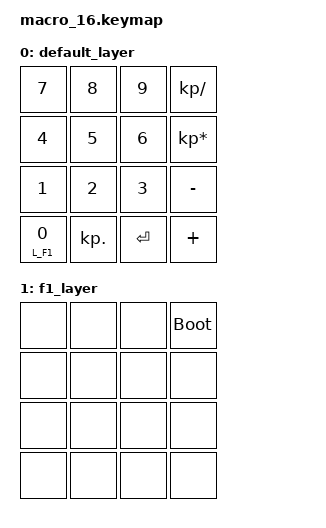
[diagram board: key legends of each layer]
#include <behaviors.dtsi>
#include <dt-bindings/zmk/keys.h>

#define L_DEF 0
#ifndef L_F1
  #define L_F1 1
#endif

/ {
    keymap {
        compatible = "zmk,keymap";

        default_layer { // Layer 0
            // -------------------------------------
            // |     Z     |     M     |     K     |
            // |     A     |     B     |     C     |
            // |     D     |     E     |     F     |
            bindings = <
                &kp N7      &kp N8     &kp N9    &kp KP_DIVIDE
                &kp N4      &kp N5     &kp N6    &kp KP_MULTIPLY
                &kp N1      &kp N2     &kp N3    &kp MINUS
                &lt L_F1 N0 &kp KP_DOT &kp ENTER &kp PLUS
            >;
        };
        f1_layer {
            bindings = <
            &none &none &none &bootloader
            &none &none &none &none
            &none &none &none &none
            &none &none &none &none
            >;
        };

        extra1 {
            status = "reserved";
        };

        extra2 {
            status = "reserved";
        };
    };
 };
